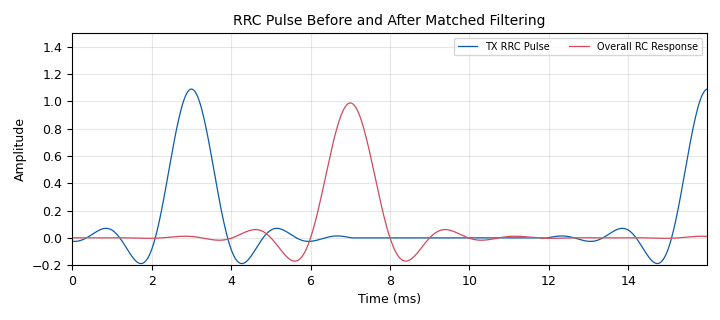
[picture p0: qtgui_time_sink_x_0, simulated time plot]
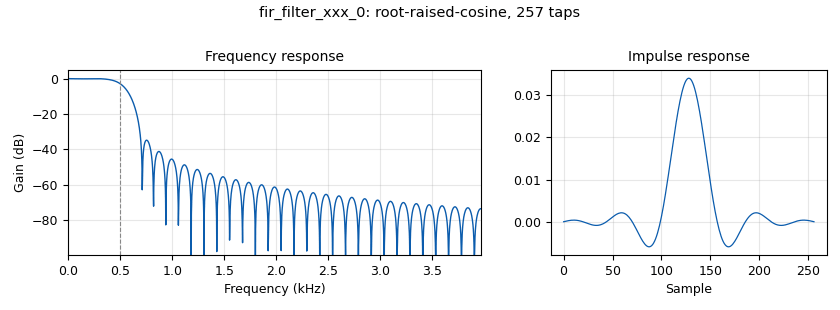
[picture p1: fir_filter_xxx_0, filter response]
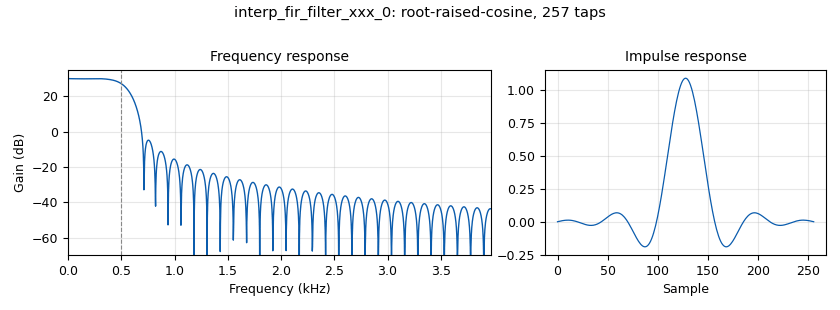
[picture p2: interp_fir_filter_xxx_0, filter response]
options:
  parameters:
    author: Dhrubjun
    generate_options: qt_gui
    id: exp7
    output_language: python
    title: TX and RX RRC Filtering
  states: {}

blocks:
- name: alpha
  id: variable
  parameters:
    value: '0.35'
  states: {}
- name: ntaps
  id: variable
  parameters:
    value: span * sps + 1
  states: {}
- name: samp_rate
  id: variable
  parameters:
    value: '32000'
  states: {}
- name: span
  id: variable
  parameters:
    value: '8'
  states: {}
- name: sps
  id: variable
  parameters:
    value: int(samp_rate / symbol_rate)
  states: {}
- name: symbol_rate
  id: variable
  parameters:
    value: '1000'
  states: {}
- name: blocks_throttle2_0
  id: blocks_throttle2
  parameters:
    samples_per_second: samp_rate
    type: float
  states: {}
- name: blocks_vector_source_x_0
  id: blocks_vector_source_x
  parameters:
    repeat: 'True'
    type: float
    vector: (0, 0, 0, 0, 0, 0, 1, 0, 0, 0, 0, 0, 0)
  states: {}
- name: fir_filter_xxx_0
  id: fir_filter_xxx
  parameters:
    decim: '1'
    taps: firdes.root_raised_cosine(1, samp_rate, symbol_rate, alpha, ntaps)
    type: fff
  states: {}
- name: interp_fir_filter_xxx_0
  id: interp_fir_filter_xxx
  parameters:
    interp: sps
    taps: firdes.root_raised_cosine(sps, samp_rate, symbol_rate, alpha, ntaps)
    type: fff
  states: {}
- name: qtgui_time_sink_x_0
  id: qtgui_time_sink_x
  parameters:
    label1: TX RRC Pulse
    label2: Overall RC Response
    name: RRC Pulse Before and After Matched Filtering
    nconnections: '2'
    size: '512'
    srate: samp_rate
    type: float
    update_time: '2'
    ymax: '1.5'
    ymin: '-0.2'
  states: {}

connections:
- [blocks_throttle2_0, '0', fir_filter_xxx_0, '0']
- [blocks_throttle2_0, '0', qtgui_time_sink_x_0, '0']
- [blocks_vector_source_x_0, '0', interp_fir_filter_xxx_0, '0']
- [fir_filter_xxx_0, '0', qtgui_time_sink_x_0, '1']
- [interp_fir_filter_xxx_0, '0', blocks_throttle2_0, '0']

metadata:
  file_format: 1
  grc_version: 3.10.12.0
